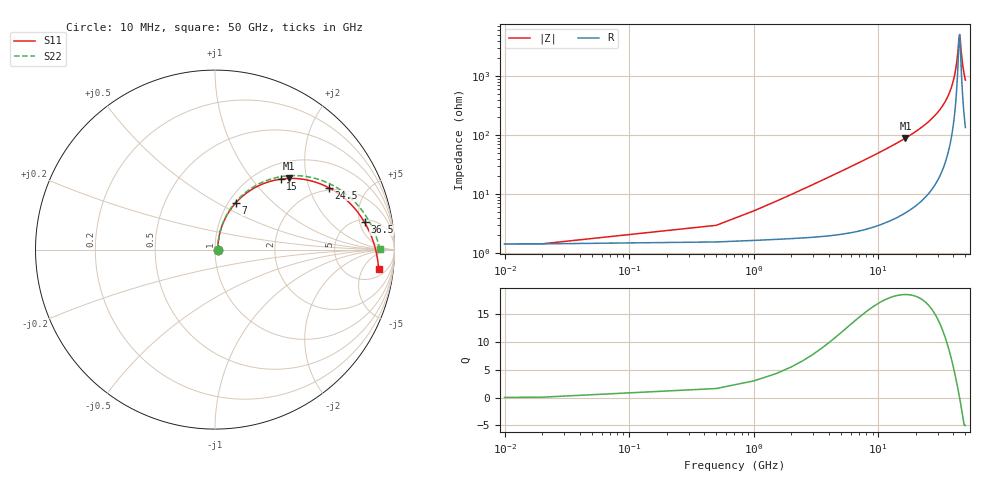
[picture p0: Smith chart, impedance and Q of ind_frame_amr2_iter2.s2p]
! Created with skrf 2.2.0 (http://scikit-rf.org).
# GHz S DB R 50.0
! Port[1] = P1
! Port[2] = P2
!freq dBS11 angS11 dBS21 angS21 dBS12 angS12 dBS22 angS22
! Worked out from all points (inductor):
!   102 points, 10 MHz to 50 GHz, reference 50 ohm
!   read as 1/Y11, port 2 shorted: L = 777 pH near 1 GHz
!   highest Q = 18.5 at 16.5 GHz (marker M1), where L = 860 pH
!   self-resonance near 44.5 GHz
!   S11 on the Smith chart (normalised r, x): 10 MHz: 1.03, +0.00; 7 GHz: 1.08, +0.62; 15 GHz: 1.28, +1.41; 24.5 GHz: 1.89, +2.72; 36.5 GHz: 5.56, +5.97; 50 GHz: 8, -11
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0.01  -36.99 2.0  -0.12 -0.0  -0.12 -0.0  -36.99 2.0
0.5  -31.37 54.4  -0.14 -1.6  -0.14 -1.6  -31.37 54.4
1  -26.67 67.1  -0.15 -3.1  -0.15 -3.1  -26.67 67.2
1.5  -23.52 71.6  -0.17 -4.5  -0.17 -4.5  -23.51 71.7
2  -21.17 73.3  -0.19 -6.0  -0.19 -6.0  -21.17 73.5
3  -17.79 73.7  -0.25 -8.9  -0.25 -8.9  -17.80 74.0
4  -15.39 72.4  -0.31 -11.7  -0.31 -11.7  -15.40 72.9
5.5  -12.76 69.4  -0.43 -15.9  -0.43 -15.9  -12.77 70.0
7  -10.83 65.9  -0.59 -20.0  -0.59 -20.0  -10.84 66.7
8.5  -9.33 62.2  -0.77 -24.0  -0.77 -24.0  -9.34 63.2
11.5  -7.14 55.0  -1.20 -31.5  -1.20 -31.5  -7.15 56.4
15  -5.41 47.0  -1.79 -39.5  -1.79 -39.5  -5.42 48.8
16.5  -4.84 43.8  -2.07 -42.7  -2.07 -42.7  -4.85 45.8
17  -4.67 42.8  -2.16 -43.7  -2.16 -43.7  -4.68 44.9
20.5  -3.67 35.8  -2.83 -50.6  -2.83 -50.6  -3.68 38.4
24.5  -2.84 28.6  -3.64 -57.7  -3.64 -57.7  -2.85 31.7
25.5  -2.67 26.9  -3.84 -59.3  -3.84 -59.3  -2.68 30.1
29.5  -2.11 20.5  -4.67 -65.6  -4.67 -65.6  -2.12 24.3
33.5  -1.69 14.5  -5.51 -71.4  -5.51 -71.4  -1.70 18.9
36.5  -1.44 10.3  -6.15 -75.4  -6.15 -75.4  -1.45 15.2
42  -1.09 3.1  -7.33 -82.3  -7.33 -82.3  -1.10 8.8
50  -0.74 -6.8  -9.13 -91.5  -9.13 -91.5  -0.75 0.4
